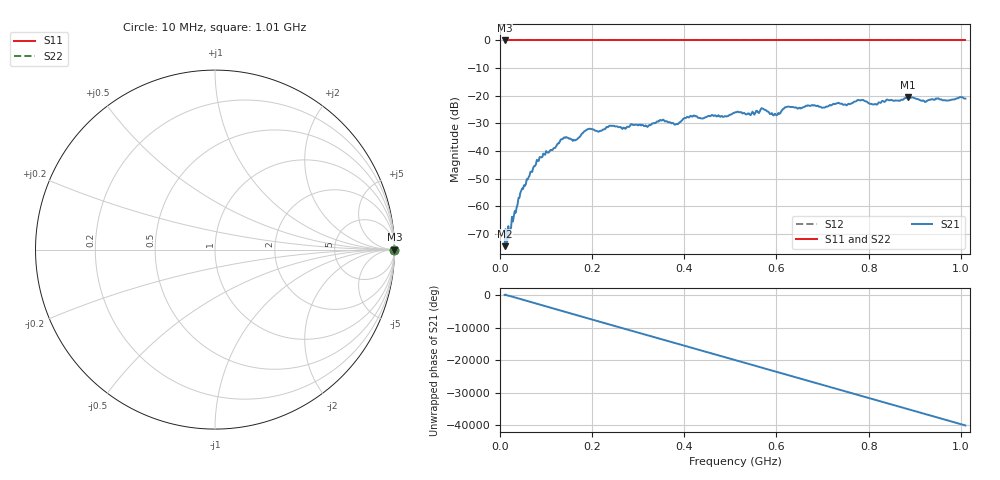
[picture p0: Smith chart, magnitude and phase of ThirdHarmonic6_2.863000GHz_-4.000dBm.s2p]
! 8/17/2025 7:48:01 AM
! C:\ANRITSUVNA\TEMP\TEMP.S2P
! CHANNEL.1
! TR.MEASUREMENT
! RAW.DATA
! RF.CORRECTION.OFF
! AVERAGING.OFF
! IF.BANDWIDTH: 5KHZ
! SWEEPTYPE:  FREQ.SWEEP(Linear)
! Reference Plane Port Info
! PORT:  PORT1  PORT2
! DISTANCE:  0  m  0  m
! TIME:  0  s  0  s
! PHASE.OFFSET:  0  deg.  0  deg.
! LOSS:  0  dB  0  dB
! REF.LOSS:  0  dB  0  dB
! REF.FREQ:  0  Hz  0  Hz
! Power Info
! POWER:  -20  dBm  -20  dBm
! EFF.POWER:  -20  dBm  -20  dBm
! SOURCE.ATTEN:  0  dB  0  dB
! TEST.ATTEN:  0  dB  0  dB
# GHZ S RI R 50.0
! FREQ.GHZ  S11RE  S11IM  S21RE  S21IM  S12RE  S12IM  S22RE  S22IM
!; PortSelection: Port_12
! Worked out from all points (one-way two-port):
!   501 points, 10 MHz to 1.01 GHz, reference 50 ohm
!   highest |S21| = -20.45 dB at 886 MHz (marker M1); lowest = -74.4 dB at 10 MHz (marker M2)
!   lowest |S11| = 0.0 dB at 10 MHz (marker M3)
!   |S11| at or under -10 dB: nowhere
!   |S22| runs from 0.0 to 0.0 dB; largest |S21 - S12| = 1.1
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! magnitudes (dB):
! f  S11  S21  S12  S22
! 10 MHz  0.0  -74.4  0.0  0.0
! 18 MHz  0.0  -67.2  0.0  0.0
! 44 MHz  0.0  -55.2  0.0  0.0
! 84 MHz  0.0  -43.6  0.0  0.0
! 136 MHz  0.0  -35.7  0.0  0.0
! 162 MHz  0.0  -36.2  0.0  0.0
! 178 MHz  0.0  -33.7  0.0  0.0
! 194 MHz  0.0  -32.0  0.0  0.0
! 318 MHz  0.0  -31.0  0.0  0.0
! 344 MHz  0.0  -29.4  0.0  0.0
! 382 MHz  0.0  -30.3  0.0  0.0
! 416 MHz  0.0  -27.5  0.0  0.0
! 510 MHz  0.0  -26.0  0.0  0.0
! 540 MHz  0.0  -26.4  0.0  0.0
! 570 MHz  0.0  -24.6  0.0  0.0
! 598 MHz  0.0  -26.6  0.0  0.0
! 622 MHz  0.0  -24.1  0.0  0.0
! 678 MHz  0.0  -23.4  0.0  0.0
! 814 MHz  0.0  -23.0  0.0  0.0
! 844 MHz  0.0  -21.6  0.0  0.0
! 886 MHz  0.0  -20.4  0.0  0.0
! 1.01 GHz  0.0  -21.0  0.0  0.0
